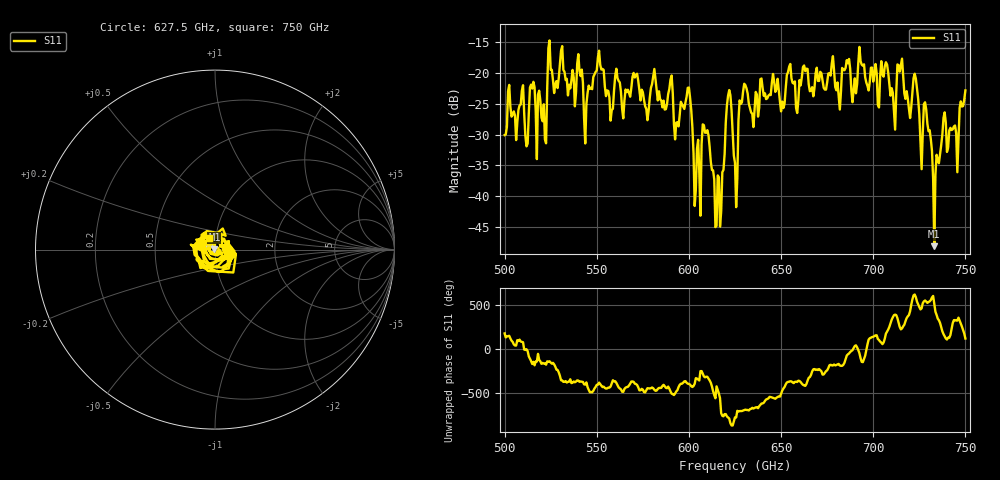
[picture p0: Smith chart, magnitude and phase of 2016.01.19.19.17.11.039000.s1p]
!Created with skrf (http://scikit-rf.org).
# GHz S RI R 50.0
!freq ReS11 ImS11
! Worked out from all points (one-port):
!   401 points, 500 GHz to 750 GHz, reference 50 ohm
!   lowest |S11| = -48.1 dB at 733.1 GHz (marker M1), VSWR 1.01, Z = 49.7 + j0.205 ohm
!   |S11| at or under -10 dB: start of sweep to end of sweep
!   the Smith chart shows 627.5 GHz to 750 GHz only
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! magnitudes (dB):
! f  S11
! 500 GHz  -30.1
! 508.8 GHz  -25.1
! 511.9 GHz  -31.9
! 515 GHz  -22.5
! 521.2 GHz  -25.1
! 524.4 GHz  -14.7
! 531.2 GHz  -15.6
! 543.8 GHz  -31.4
! 550.6 GHz  -17.4
! 562.5 GHz  -21.5
! 590 GHz  -21.1
! 593.8 GHz  -28.0
! 600 GHz  -22.3
! 603.1 GHz  -41.6
! 608.8 GHz  -29.7
! 615.6 GHz  -36.6
! 621.9 GHz  -22.8
! 625 GHz  -34.6
! 630 GHz  -21.7
! 656.2 GHz  -21.6
! 687.5 GHz  -19.3
! 706.9 GHz  -18.2
! 710.6 GHz  -23.2
! 714.4 GHz  -19.8
! 718.8 GHz  -24.1
! 723.1 GHz  -20.9
! 733.1 GHz  -48.1
! 750 GHz  -22.8
